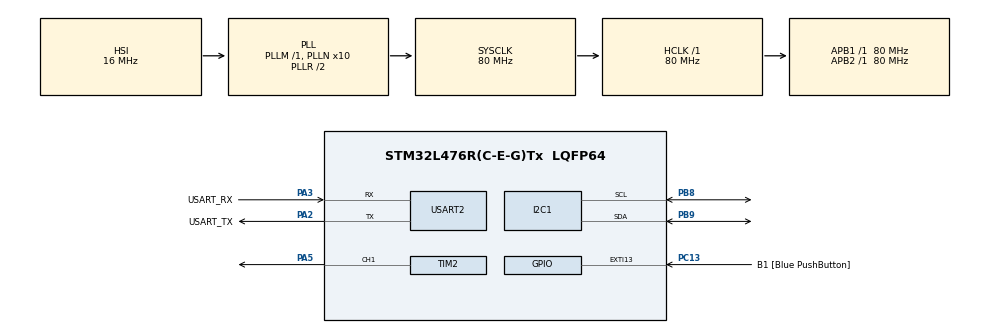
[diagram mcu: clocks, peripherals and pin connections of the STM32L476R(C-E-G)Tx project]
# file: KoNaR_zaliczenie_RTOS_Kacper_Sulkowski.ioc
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FREERTOS.Tasks01=defaultTask,24,128,StartDefaultTask,Default,NULL,Dynamic,NULL,NULL
FREERTOS.configENABLE_FPU=1
FREERTOS.configTOTAL_HEAP_SIZE=50000
FREERTOS.configUSE_NEWLIB_REENTRANT=1
I2C1.Timing=0x10909CEC
Mcu.Family=STM32L4
Mcu.Name=STM32L476R(C-E-G)Tx
Mcu.Package=LQFP64
NVIC.EXTI15_10_IRQn=true\:5\:0\:false\:false\:true\:true\:true\:true\:true
NVIC.I2C1_ER_IRQn=true\:5\:0\:false\:false\:true\:true\:true\:true\:true
NVIC.I2C1_EV_IRQn=true\:5\:0\:false\:false\:true\:true\:true\:true\:true
NVIC.PriorityGroup=NVIC_PRIORITYGROUP_4
NVIC.TIM4_IRQn=true\:5\:0\:false\:false\:true\:true\:true\:true\:true
NVIC.TIM6_DAC_IRQn=true\:15\:0\:false\:false\:true\:false\:false\:true\:true
NVIC.TimeBase=TIM6_DAC_IRQn
NVIC.TimeBaseIP=TIM6
NVIC.USART2_IRQn=true\:5\:0\:false\:false\:true\:true\:true\:true\:true
PA13\ (JTMS-SWDIO).GPIO_Label=TMS
PA13\ (JTMS-SWDIO).Mode=Serial_Wire
PA13\ (JTMS-SWDIO).Signal=SYS_JTMS-SWDIO
PA14\ (JTCK-SWCLK).GPIO_Label=TCK
PA14\ (JTCK-SWCLK).Mode=Serial_Wire
PA14\ (JTCK-SWCLK).Signal=SYS_JTCK-SWCLK
PA2.GPIO_Label=USART_TX
PA2.GPIO_Mode=GPIO_MODE_AF_PP
PA2.GPIO_PuPd=GPIO_NOPULL
PA2.GPIO_Speed=GPIO_SPEED_FREQ_VERY_HIGH
PA2.Mode=Asynchronous
PA2.Signal=USART2_TX
PA3.GPIO_Label=USART_RX
PA3.GPIO_Mode=GPIO_MODE_AF_PP
PA3.GPIO_PuPd=GPIO_NOPULL
PA3.GPIO_Speed=GPIO_SPEED_FREQ_VERY_HIGH
PA3.Mode=Asynchronous
PA3.Signal=USART2_RX
PA5.Signal=S_TIM2_CH1
PB3\ (JTDO-TRACESWO).GPIO_Label=SWO
PB3\ (JTDO-TRACESWO).Signal=SYS_JTDO-SWO
PB8.Mode=I2C
PB8.Signal=I2C1_SCL
PB9.Mode=I2C
PB9.Signal=I2C1_SDA
PC13.GPIO_Label=B1 [Blue PushButton]
PC13.GPIO_ModeDefaultEXTI=GPIO_MODE_IT_FALLING
PC13.Signal=GPXTI13
PC14-OSC32_IN\ (PC14).Mode=LSE-External-Oscillator
PC14-OSC32_IN\ (PC14).Signal=RCC_OSC32_IN
PC15-OSC32_OUT\ (PC15).Mode=LSE-External-Oscillator
PC15-OSC32_OUT\ (PC15).Signal=RCC_OSC32_OUT
PH0-OSC_IN\ (PH0).Signal=RCC_OSC_IN
PH1-OSC_OUT\ (PH1).Signal=RCC_OSC_OUT
ProjectManager.HeapSize=0x200
ProjectManager.StackSize=0x400
ProjectManager.TargetToolchain=STM32CubeIDE
RCC.ADCFreq_Value=64000000
RCC.AHBFreq_Value=80000000
RCC.APB1Freq_Value=80000000
RCC.APB1TimFreq_Value=80000000
RCC.APB2Freq_Value=80000000
RCC.APB2TimFreq_Value=80000000
RCC.CortexFreq_Value=80000000
RCC.HCLKFreq_Value=80000000
RCC.HSE_VALUE=8000000
RCC.HSI_VALUE=16000000
RCC.MSI_VALUE=4000000
RCC.PLLN=10
RCC.PLLSourceVirtual=RCC_PLLSOURCE_HSI
RCC.PREFETCH_ENABLE=1
RCC.SYSCLKFreq_VALUE=80000000
RCC.SYSCLKSource=RCC_SYSCLKSOURCE_PLLCLK
RCC.USBFreq_Value=64000000
RCC.VCOOutputFreq_Value=160000000
SH.S_TIM2_CH1.0=TIM2_CH1,PWM Generation1 CH1
TIM2.Channel-PWM\ Generation1\ CH1=TIM_CHANNEL_1
TIM2.Period=153
TIM2.Prescaler=39999
TIM4.Channel-Output\ Compare1\ No\ Output=TIM_CHANNEL_1
TIM4.Period=181
TIM4.Prescaler=39999
USART2.VirtualMode-Asynchronous=VM_ASYNC
VP_FREERTOS_VS_CMSIS_V2.Mode=CMSIS_V2
VP_SYS_VS_tim6.Mode=TIM6
VP_TIM4_VS_no_output1.Mode=Output Compare1 No Output
board=NUCLEO-L476RG

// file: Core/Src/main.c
/* USER CODE BEGIN Header */
/**
  ******************************************************************************
  * @file           : main.c
  * @brief          : Main program body
  ******************************************************************************
  * @attention
  *
  * Copyright (c) 2023 STMicroelectronics.
  * All rights reserved.
  *
  * This software is licensed under terms that can be found in the LICENSE file
  * in the root directory of this software component.
  * If no LICENSE file comes with this software, it is provided AS-IS.
  *
  ******************************************************************************
  */
/* USER CODE END Header */
#include "main.h"
#include "cmsis_os.h"

/* USER CODE BEGIN Includes */
#include "stdbool.h"
#include "stdio.h"
#include "string.h"
#include "semphr.h"
#include "hts221_register_map.h"
/* USER CODE END Includes */

/* USER CODE BEGIN PD */
#define tim2_ARR 153
/* USER CODE END PD */

/* USER CODE BEGIN PM */
//flags
static volatile bool button_pushed= false;
static volatile bool hts221_read_ready= false;

//counters
static volatile uint8_t button_push_counter =0;

//buffers
static uint8_t buffer_button_UART[64]={0};
static uint8_t buffer_hts221_UART[64]={0};
static uint8_t buffer_tmp[2]={0};
static uint8_t buffer_hmdt[2]={0};

//Interpolation consts
static	uint16_t T0_OUT=0;
static	uint16_t T1_OUT=0;
static	float T0_degC=0;
static	float T1_degC=0;

static	uint16_t H0_OUT=0;
static	uint16_t H1_OUT=0;
static	float H0_rH=0;
static	float H1_rH=0;

//Semaphores
static xSemaphoreHandle tx_UART_mutex = NULL;
static xSemaphoreHandle hts221_rw_data_accsess_mutex = NULL;

//Task Handles
static TaskHandle_t GPIO_EXTI13_IR_task_handle=NULL;
static TaskHandle_t UART2_TX_CPLT_IR_task_handle=NULL;
static TaskHandle_t I2C_MemRx_Cplt_IR_task_handle=NULL;

//static uint8_t test=0;

/* USER CODE END PM */

I2C_HandleTypeDef hi2c1;

TIM_HandleTypeDef htim2;
TIM_HandleTypeDef htim4;

UART_HandleTypeDef huart2;

/* Definitions for defaultTask */
osThreadId_t defaultTaskHandle;
const osThreadAttr_t defaultTask_attributes = {
  .name = "defaultTask",
  .stack_size = 128 * 4,
  .priority = (osPriority_t) osPriorityNormal,
};

void SystemClock_Config(void);
static void MX_GPIO_Init(void);
static void MX_USART2_UART_Init(void);
static void MX_TIM2_Init(void);
static void MX_TIM4_Init(void);
static void MX_I2C1_Init(void);
void StartDefaultTask(void *argument);

/* USER CODE BEGIN 0 */

//CALLBACKS AND CALLBACK TASKTS

void HAL_GPIO_EXTI_Callback(uint16_t GPIO_Pin)
{
	if(GPIO_Pin==GPIO_PIN_13)
	{
		BaseType_t check_if_yield_required;
		check_if_yield_required=xTaskResumeFromISR(GPIO_EXTI13_IR_task_handle);
		portYIELD_FROM_ISR(check_if_yield_required);
	}
}

void GPIO_EXTI13_IR_task(void* param)
{
	while(1)
	{
		vTaskSuspend(NULL);
		button_pushed=true;
		button_push_counter++;
	}
}

void HAL_UART_TxCpltCallback(UART_HandleTypeDef *huart)
{
	if(huart==&huart2)
	{
		BaseType_t check_if_yield_required;
		check_if_yield_required=xTaskResumeFromISR(UART2_TX_CPLT_IR_task_handle);
		portYIELD_FROM_ISR(check_if_yield_required);
	}
}

void UART2_TX_CPLT_IR_task(void* param)
{
	while(1)
	{
		vTaskSuspend(NULL);
		xSemaphoreGive(tx_UART_mutex);
	}
}

void HAL_I2C_MemRxCpltCallback(I2C_HandleTypeDef *hi2c)
{
	if(hi2c==&hi2c1)
	{
		BaseType_t check_if_yield_required;
		check_if_yield_required=xTaskResumeFromISR(I2C_MemRx_Cplt_IR_task_handle);
		portYIELD_FROM_ISR(check_if_yield_required);
	}
}

void I2C_MemRx_Cplt_IR_task(void*param)
{
	while(1)
	{
		vTaskSuspend(NULL);
		xSemaphoreGive(hts221_rw_data_accsess_mutex);
	}
}

// Timers handling functions

void init_timers()
{
	HAL_TIM_Base_Start(&htim2); //inicjalizacja timera
	HAL_TIM_Base_Start_IT(&htim4);//inicjalizacja w trybie IR
	HAL_TIM_PWM_Start(&htim2, TIM_CHANNEL_1); //inicjalizacja generatora PWM
	__HAL_TIM_SET_COMPARE(&htim2, TIM_CHANNEL_1,tim2_ARR/2); //wypełnienie 50%
}

//Button handling functions

void blue_button_pushed(void* param)
{
	while(1)
	{
		if(button_pushed)
		{
			button_pushed=false;
			if(xSemaphoreTake(tx_UART_mutex,100))
			{
				snprintf((char*)buffer_button_UART, sizeof(buffer_button_UART), "ALLERT: BUTTON PUSHED!!! Counter:  %u\n\r",button_push_counter);
				HAL_UART_Transmit_IT(&huart2, buffer_button_UART, strlen((char*)buffer_button_UART));
			}

		}
	}
}

//HTS221 handling functions

void hts221_read(uint8_t address,uint8_t* dest, uint8_t size)
{
	if(xSemaphoreTake(hts221_rw_data_accsess_mutex,100))
	{
		HAL_I2C_Mem_Read(&hi2c1, HTS221_I2C_ADDRESS, address, I2C_MEMADD_SIZE_8BIT, dest, size, HAL_MAX_DELAY);
		xSemaphoreGive(hts221_rw_data_accsess_mutex);
	}
}

void hts221_read_IT(uint8_t address,uint8_t* dest, uint8_t size)
{
	if(xSemaphoreTake(hts221_rw_data_accsess_mutex,100))
	{

			HAL_I2C_Mem_Read_IT(&hi2c1, HTS221_I2C_ADDRESS, address, I2C_MEMADD_SIZE_8BIT, dest, size);
	}
}

void hts221_write(uint8_t address, uint8_t val)
{
	if(xSemaphoreTake(hts221_rw_data_accsess_mutex,100))
	{
		HAL_I2C_Mem_Write(&hi2c1, HTS221_I2C_ADDRESS, address, I2C_MEMADD_SIZE_8BIT, &val, sizeof(val), HAL_MAX_DELAY);
		xSemaphoreGive(hts221_rw_data_accsess_mutex);
	}
}

void hts221_check_ID()
{
	uint8_t WHO_I_AM=0;

	const char* str = "HTS221 Connected!\n\r";

	hts221_read(HTS221_WHO_AM_I, &WHO_I_AM, 1);

	if(WHO_I_AM==HTS221_I2C_ID)
	{
		if(xSemaphoreTake(tx_UART_mutex,100))
		{
			HAL_UART_Transmit(&huart2, (uint8_t*)str, strlen(str),HAL_MAX_DELAY);
			xSemaphoreGive(tx_UART_mutex);
		}
	}
}

void hts221_tmp_interpol_init()
{
	uint8_t T0_degCx8=0;
	uint8_t T1_degCx8=0;
	uint8_t T1_T0_MSBx8=0;

	hts221_read(HTS221_T0_OUT_H, &buffer_tmp[1], 1);
	hts221_read(HTS221_T0_OUT_L, &buffer_tmp[0], 1);
	T0_OUT=((uint16_t)buffer_tmp[1]<<8) | (uint16_t)buffer_tmp[0];

	hts221_read(HTS221_T1_OUT_H, &buffer_tmp[1], 1);
	hts221_read(HTS221_T1_OUT_L, &buffer_tmp[0], 1);
	T1_OUT=((uint16_t)buffer_tmp[1]<<8) | (uint16_t)buffer_tmp[0];

	hts221_read(HTS221_T0_degC_x8, &T0_degCx8, 1);
	hts221_read(HTS221_T1_degC_x8, &T1_degCx8, 1);
	hts221_read(HTS221_T1_T0_MSB_x8, &T1_T0_MSBx8, 1);

	T0_degC=(T0_degCx8 + ((T1_T0_MSBx8 & 0x03)<<8))/8.f;
	T1_degC=(T1_degCx8 + ((T1_T0_MSBx8 & 0x0C)<<6))/8.f;

}

void hts221_hmd_interpol_init()
{
	uint8_t H0_rHx2=0;
	uint8_t H1_rHx2=0;

	hts221_read(HTS221_H0_OUT_H, &buffer_hmdt[1], 1);
	hts221_read(HTS221_H0_OUT_L, &buffer_hmdt[0], 1);
	H0_OUT=((uint16_t)buffer_hmdt[1]<<8) | buffer_hmdt[0];

	hts221_read(HTS221_H1_OUT_H, &buffer_hmdt[1], 1);
	hts221_read(HTS221_H1_OUT_L, &buffer_hmdt[0], 1);
	H1_OUT=((uint16_t)buffer_hmdt[1]<<8) | buffer_hmdt[0];

	hts221_read(HTS221_H0_rH_x2, &H0_rHx2, 1);
	hts221_read(HTS221_H1_rH_x2, &H1_rHx2, 1);

	H0_rH=H0_rHx2/2.f;
	H1_rH=H1_rHx2/2.f;
}

void hts221_init()
{
	hts221_check_ID();

	hts221_write(HTS221_CTRL_REG1, HTS221_PD_ON | HTS221_BDU_ON |HTS221_ODR_12HZ);

	hts221_tmp_interpol_init();

	hts221_hmd_interpol_init();
}

void hts221_data_read()
{
	hts221_read_IT(HTS221_TEMP_OUT_H, &buffer_tmp[1], 1);
	hts221_read_IT(HTS221_HUMIDITY_OUT_H, &buffer_hmdt[1], 1);
	hts221_read_IT(HTS221_TEMP_OUT_L, &buffer_tmp[0], 1);
	hts221_read_IT(HTS221_HUMIDITY_OUT_L, &buffer_hmdt[0], 1);
}

void hts221_UART_data_tx()
{
	if(xSemaphoreTake(hts221_rw_data_accsess_mutex,100))
	{
		float tmp  = ((uint16_t)buffer_tmp[1]<<8) | (uint16_t)buffer_tmp[0];

		/*!!!!!!!!!!!!!!!!!!!!!!!!!!!!!!!!!!!!!!!!!!!!!!!!!!!!!!!!!!!!!!!!!!!!!!!!!!!!!!!!!!!!!!!!!!!!!
		 *
		 *				!!!!!!!!!!! Tutaj oszukałem (dopisałem "65536 - ") !!!!!!!!!
		 *
		 * Albo mój czujnik jest zrąbany, albo czegoś nie rozumiem. W  suchym pomieszczeniu pokazuje 70%,
		 * a im większa wilgotość faktycznie, tym mniejszy wynik. Można to zaobserwować nawet na suchych
		 * nieprzekonwertowanych danych. W trybie debugowania poprzez Live Expresions na wektorze buffer_hmdt,
		 * w warunkach pokojowych dane prawie przepełniają 16 bitów, a kiedy się na czujnik chuchnie,
		 * to odczyt spada. Współczynnik kierunkowy interpolacji (wyznaczony zgodnie z instrukcją)
		 * jest ewidentnie dodatni, więc nie wiem o co chodzi.
		 *
		 *!!!!!!!!!!!!!!!!!!!!!!!!!!!!!!!!!!!!!!!!!!!!!!!!!!!!!!!!!!!!!!!!!!!!!!!!!!!!!!!!!!!!!!!!!!!!*/

		float hmdt =65536 - (((uint16_t)buffer_hmdt[1]<<8) | buffer_hmdt[0]);
		xSemaphoreGive(hts221_rw_data_accsess_mutex);

		tmp=((T1_degC-T0_degC)*(tmp-T0_OUT))/(T1_OUT-T0_OUT) + T0_degC;

		hmdt=(((H1_rH-H0_rH))*(hmdt-H0_OUT))/(H1_OUT-H0_OUT) + H0_rH;

		snprintf((char*)buffer_hts221_UART,sizeof(buffer_hts221_UART),"Temp: %3.4f[C]; Humid: %3.4f[%%]\n\r",tmp,hmdt);

		HAL_UART_Transmit_IT(&huart2, buffer_hts221_UART, strlen((char*)buffer_hts221_UART));
	}

}

void hts221_data_Task(void* param)
{
	while(1)
	{
		if(hts221_read_ready)
		{
			hts221_read_ready=false;

			hts221_data_read();

			hts221_UART_data_tx();
		}
	}
}

/* USER CODE END 0 */

int main(void)
{

  /* MCU Configuration--------------------------------------------------------*/

  /* Reset of all peripherals, Initializes the Flash interface and the Systick. */
  HAL_Init();

  /* Configure the system clock */
  SystemClock_Config();

  /* Initialize all configured peripherals */
  MX_GPIO_Init();
  MX_USART2_UART_Init();
  MX_TIM2_Init();
  MX_TIM4_Init();
  MX_I2C1_Init();

  /* Init scheduler */
  osKernelInitialize();

  /* USER CODE BEGIN RTOS_SEMAPHORES */
  tx_UART_mutex=xSemaphoreCreateBinary();
  xSemaphoreGive(tx_UART_mutex);

  hts221_rw_data_accsess_mutex = xSemaphoreCreateBinary();
  xSemaphoreGive(hts221_rw_data_accsess_mutex);
  /* USER CODE END RTOS_SEMAPHORES */

  /* USER CODE BEGIN RTOS_TIMERS */
  init_timers();
  hts221_init();
  /* USER CODE END RTOS_TIMERS */

  /* Create the thread(s) */
  /* creation of defaultTask */
  defaultTaskHandle = osThreadNew(StartDefaultTask, NULL, &defaultTask_attributes);

  /* USER CODE BEGIN RTOS_THREADS */

  xTaskCreate(blue_button_pushed, "blue_button_pushed", 128, NULL, 5, NULL);
  xTaskCreate(hts221_data_Task, "hts221_data_Task", 256, NULL, 5, NULL);

  xTaskCreate(GPIO_EXTI13_IR_task, "GPIO_EXTI13_IR_task", 128, NULL, 5, &GPIO_EXTI13_IR_task_handle);
  xTaskCreate(UART2_TX_CPLT_IR_task, "UART2_TX_CPLT_IR_task", 128, NULL, 5, &UART2_TX_CPLT_IR_task_handle);
  xTaskCreate(I2C_MemRx_Cplt_IR_task, "I2C_MemRx_Cplt_IR_task", 128, NULL, 5, &I2C_MemRx_Cplt_IR_task_handle);

  /* USER CODE END RTOS_THREADS */

  /* Start scheduler */
  osKernelStart();

  /* We should never get here as control is now taken by the scheduler */
  /* Infinite loop */
  while (1)
  {

  }
}

void SystemClock_Config(void)
{
  RCC_OscInitTypeDef RCC_OscInitStruct = {0};
  RCC_ClkInitTypeDef RCC_ClkInitStruct = {0};

  /** Configure the main internal regulator output voltage
  */
  if (HAL_PWREx_ControlVoltageScaling(PWR_REGULATOR_VOLTAGE_SCALE1) != HAL_OK)
  {
    Error_Handler();
  }

  /** Initializes the RCC Oscillators according to the specified parameters
  * in the RCC_OscInitTypeDef structure.
  */
  RCC_OscInitStruct.OscillatorType = RCC_OSCILLATORTYPE_HSI;
  RCC_OscInitStruct.HSIState = RCC_HSI_ON;
  RCC_OscInitStruct.HSICalibrationValue = RCC_HSICALIBRATION_DEFAULT;
  RCC_OscInitStruct.PLL.PLLState = RCC_PLL_ON;
  RCC_OscInitStruct.PLL.PLLSource = RCC_PLLSOURCE_HSI;
  RCC_OscInitStruct.PLL.PLLM = 1;
  RCC_OscInitStruct.PLL.PLLN = 10;
  RCC_OscInitStruct.PLL.PLLP = RCC_PLLP_DIV7;
  RCC_OscInitStruct.PLL.PLLQ = RCC_PLLQ_DIV2;
  RCC_OscInitStruct.PLL.PLLR = RCC_PLLR_DIV2;
  if (HAL_RCC_OscConfig(&RCC_OscInitStruct) != HAL_OK)
  {
    Error_Handler();
  }

  /** Initializes the CPU, AHB and APB buses clocks
  */
  RCC_ClkInitStruct.ClockType = RCC_CLOCKTYPE_HCLK|RCC_CLOCKTYPE_SYSCLK
                              |RCC_CLOCKTYPE_PCLK1|RCC_CLOCKTYPE_PCLK2;
  RCC_ClkInitStruct.SYSCLKSource = RCC_SYSCLKSOURCE_PLLCLK;
  RCC_ClkInitStruct.AHBCLKDivider = RCC_SYSCLK_DIV1;
  RCC_ClkInitStruct.APB1CLKDivider = RCC_HCLK_DIV1;
  RCC_ClkInitStruct.APB2CLKDivider = RCC_HCLK_DIV1;

  if (HAL_RCC_ClockConfig(&RCC_ClkInitStruct, FLASH_LATENCY_4) != HAL_OK)
  {
    Error_Handler();
  }
}

static void MX_I2C1_Init(void)
{

  hi2c1.Instance = I2C1;
  hi2c1.Init.Timing = 0x10909CEC;
  hi2c1.Init.OwnAddress1 = 0;
  hi2c1.Init.AddressingMode = I2C_ADDRESSINGMODE_7BIT;
  hi2c1.Init.DualAddressMode = I2C_DUALADDRESS_DISABLE;
  hi2c1.Init.OwnAddress2 = 0;
  hi2c1.Init.OwnAddress2Masks = I2C_OA2_NOMASK;
  hi2c1.Init.GeneralCallMode = I2C_GENERALCALL_DISABLE;
  hi2c1.Init.NoStretchMode = I2C_NOSTRETCH_DISABLE;
  if (HAL_I2C_Init(&hi2c1) != HAL_OK)
  {
    Error_Handler();
  }

  /** Configure Analogue filter
  */
  if (HAL_I2CEx_ConfigAnalogFilter(&hi2c1, I2C_ANALOGFILTER_ENABLE) != HAL_OK)
  {
    Error_Handler();
  }

  /** Configure Digital filter
  */
  if (HAL_I2CEx_ConfigDigitalFilter(&hi2c1, 0) != HAL_OK)
  {
    Error_Handler();
  }

}

static void MX_TIM2_Init(void)
{

  TIM_MasterConfigTypeDef sMasterConfig = {0};
  TIM_OC_InitTypeDef sConfigOC = {0};

  htim2.Instance = TIM2;
  htim2.Init.Prescaler = 39999;
  htim2.Init.CounterMode = TIM_COUNTERMODE_UP;
  htim2.Init.Period = 153;
  htim2.Init.ClockDivision = TIM_CLOCKDIVISION_DIV1;
  htim2.Init.AutoReloadPreload = TIM_AUTORELOAD_PRELOAD_DISABLE;
  if (HAL_TIM_PWM_Init(&htim2) != HAL_OK)
  {
    Error_Handler();
  }
  sMasterConfig.MasterOutputTrigger = TIM_TRGO_RESET;
  sMasterConfig.MasterSlaveMode = TIM_MASTERSLAVEMODE_DISABLE;
  if (HAL_TIMEx_MasterConfigSynchronization(&htim2, &sMasterConfig) != HAL_OK)
  {
    Error_Handler();
  }
  sConfigOC.OCMode = TIM_OCMODE_PWM1;
  sConfigOC.Pulse = 0;
  sConfigOC.OCPolarity = TIM_OCPOLARITY_HIGH;
  sConfigOC.OCFastMode = TIM_OCFAST_DISABLE;
  if (HAL_TIM_PWM_ConfigChannel(&htim2, &sConfigOC, TIM_CHANNEL_1) != HAL_OK)
  {
    Error_Handler();
  }
  HAL_TIM_MspPostInit(&htim2);

}

static void MX_TIM4_Init(void)
{

  TIM_MasterConfigTypeDef sMasterConfig = {0};
  TIM_OC_InitTypeDef sConfigOC = {0};

  htim4.Instance = TIM4;
  htim4.Init.Prescaler = 39999;
  htim4.Init.CounterMode = TIM_COUNTERMODE_UP;
  htim4.Init.Period = 181;
  htim4.Init.ClockDivision = TIM_CLOCKDIVISION_DIV1;
  htim4.Init.AutoReloadPreload = TIM_AUTORELOAD_PRELOAD_DISABLE;
  if (HAL_TIM_OC_Init(&htim4) != HAL_OK)
  {
    Error_Handler();
  }
  sMasterConfig.MasterOutputTrigger = TIM_TRGO_RESET;
  sMasterConfig.MasterSlaveMode = TIM_MASTERSLAVEMODE_DISABLE;
  if (HAL_TIMEx_MasterConfigSynchronization(&htim4, &sMasterConfig) != HAL_OK)
  {
    Error_Handler();
  }
  sConfigOC.OCMode = TIM_OCMODE_TIMING;
  sConfigOC.Pulse = 0;
  sConfigOC.OCPolarity = TIM_OCPOLARITY_HIGH;
  sConfigOC.OCFastMode = TIM_OCFAST_DISABLE;
  if (HAL_TIM_OC_ConfigChannel(&htim4, &sConfigOC, TIM_CHANNEL_1) != HAL_OK)
  {
    Error_Handler();
  }

}

static void MX_USART2_UART_Init(void)
{

  huart2.Instance = USART2;
  huart2.Init.BaudRate = 115200;
  huart2.Init.WordLength = UART_WORDLENGTH_8B;
  huart2.Init.StopBits = UART_STOPBITS_1;
  huart2.Init.Parity = UART_PARITY_NONE;
  huart2.Init.Mode = UART_MODE_TX_RX;
  huart2.Init.HwFlowCtl = UART_HWCONTROL_NONE;
  huart2.Init.OverSampling = UART_OVERSAMPLING_16;
  huart2.Init.OneBitSampling = UART_ONE_BIT_SAMPLE_DISABLE;
  huart2.AdvancedInit.AdvFeatureInit = UART_ADVFEATURE_NO_INIT;
  if (HAL_UART_Init(&huart2) != HAL_OK)
  {
    Error_Handler();
  }

}

static void MX_GPIO_Init(void)
{
  GPIO_InitTypeDef GPIO_InitStruct = {0};

  /* GPIO Ports Clock Enable */
  __HAL_RCC_GPIOC_CLK_ENABLE();
  __HAL_RCC_GPIOH_CLK_ENABLE();
  __HAL_RCC_GPIOA_CLK_ENABLE();
  __HAL_RCC_GPIOB_CLK_ENABLE();

  /*Configure GPIO pin : B1_Pin */
  GPIO_InitStruct.Pin = B1_Pin;
  GPIO_InitStruct.Mode = GPIO_MODE_IT_FALLING;
  GPIO_InitStruct.Pull = GPIO_NOPULL;
  HAL_GPIO_Init(B1_GPIO_Port, &GPIO_InitStruct);

  /* EXTI interrupt init*/
  HAL_NVIC_SetPriority(EXTI15_10_IRQn, 5, 0);
  HAL_NVIC_EnableIRQ(EXTI15_10_IRQn);

}

void StartDefaultTask(void *argument)
{
  for(;;)
  {
    osDelay(1);
  }
}

void HAL_TIM_PeriodElapsedCallback(TIM_HandleTypeDef *htim)
{
  /* USER CODE BEGIN Callback 0 */
	if(htim==&htim4)
	{
		hts221_read_ready=true;
	}
  /* USER CODE END Callback 0 */
  if (htim->Instance == TIM6) {
    HAL_IncTick();
  }
}

void Error_Handler(void)
{
  __disable_irq();
  while (1)
  {
  }
}
